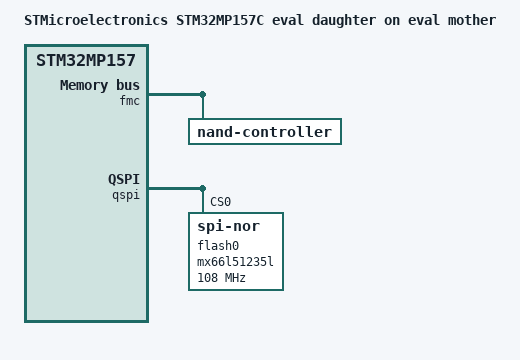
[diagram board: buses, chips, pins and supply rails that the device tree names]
// SPDX-License-Identifier: (GPL-2.0+ OR BSD-3-Clause)
/*
 * Copyright (C) STMicroelectronics 2017-2019 - All Rights Reserved
 * Author: Ludovic Barre <ludovic.barre@st.com> for STMicroelectronics.
 */
/dts-v1/;

#include "stm32mp157c-ed1.dts"

/ {
	model = "STMicroelectronics STM32MP157C eval daughter on eval mother";
	compatible = "st,stm32mp157c-ev1", "st,stm32mp157c-ed1", "st,stm32mp157";

	chosen {
		stdout-path = "serial0:115200n8";
	};

	aliases {
		serial1 = &usart3;
	};
};

&fmc {
	pinctrl-names = "default";
	pinctrl-0 = <&fmc_pins_a>;
	status = "okay";

	nand-controller@4,0 {
		status = "okay";

		nand@0 {
			reg = <0>;
			nand-on-flash-bbt;
			#address-cells = <1>;
			#size-cells = <1>;
		};
	};
};

&qspi {
	pinctrl-names = "default";
	pinctrl-0 = <&qspi_clk_pins_a &qspi_bk1_pins_a>;
	reg = <0x58003000 0x1000>, <0x70000000 0x4000000>;
	#address-cells = <1>;
	#size-cells = <0>;
	status = "okay";

	flash0: mx66l51235l@0 {
		compatible = "jedec,spi-nor";
		reg = <0>;
		spi-rx-bus-width = <4>;
		spi-max-frequency = <108000000>;
		#address-cells = <1>;
		#size-cells = <1>;
	};
};

&usart3 {
	pinctrl-names = "default";
	pinctrl-0 = <&usart3_pins_a>;
	status = "disabled";
};
